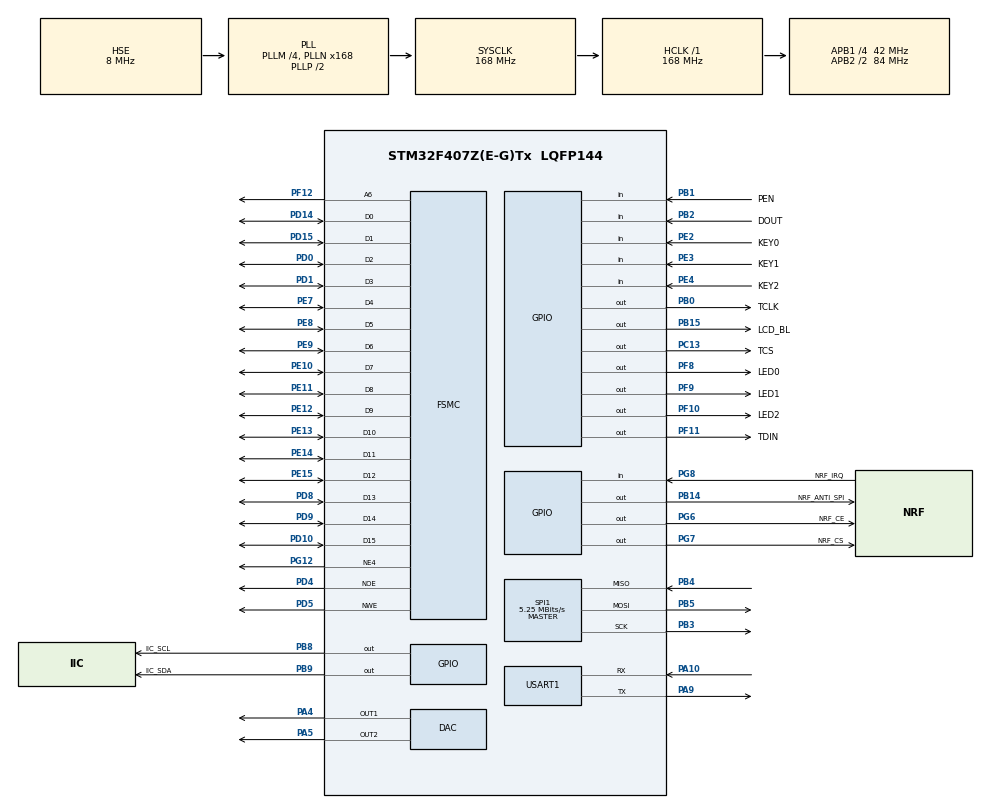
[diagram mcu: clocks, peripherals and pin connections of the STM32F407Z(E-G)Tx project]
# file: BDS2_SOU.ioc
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PH0-OSC_IN.Signal=RCC_OSC_IN
SH.FSMC_D1_DA1.0=FSMC_D1,16b-d1
SPI1.VirtualType=VM_MASTER
PG8.Signal=GPIO_Input
PB14.GPIO_Label=NRF_ANTI_SPI
PG6.GPIO_Label=NRF_CE
SH.FSMC_NWE.0=FSMC_NWE,Lcd1
PE8.GPIO_PuPd=GPIO_PULLUP
PE10.GPIO_PuPd=GPIO_PULLUP
PD10.GPIO_PuPd=GPIO_PULLUP
FSMC.ExtendedBusTurnAroundDuration1=0
SPI1.TIMode=SPI_TIMODE_DISABLE
PF10.GPIO_PuPd=GPIO_PULLUP
PF8.PinState=GPIO_PIN_SET
RCC.SYSCLKSource=RCC_SYSCLKSOURCE_PLLCLK
PD0.GPIO_Speed_High_Default=GPIO_SPEED_FREQ_VERY_HIGH
SPI1.Direction=SPI_DIRECTION_2LINES
RCC.APB2TimFreq_Value=168000000
PD4.Signal=FSMC_NOE
SPI1.CalculateBaudRate=5.25 MBits/s
PD0.Signal=FSMC_D2_DA2
PD8.Signal=FSMC_D13_DA13
PF10.GPIO_Label=LED2
PB2.Signal=GPIO_Input
PB3.Mode=Full_Duplex_Master
PC13-ANTI_TAMP.Signal=GPIO_Output
PG6.GPIO_PuPd=GPIO_PULLUP
DAC.DAC_Trigger=DAC_TRIGGER_NONE
SH.FSMC_D10_DA10.0=FSMC_D10,16b-d1
PE9.Signal=FSMC_D6_DA6
PB1.GPIO_Label=PEN
NVIC.TIM2_IRQn=true\:1\:0\:true\:false\:true\:true\:true
PE4.GPIO_Label=KEY2
PE2.Signal=GPIO_Input
PD14.GPIO_PuPd=GPIO_PULLUP
FSMC.BusTurnAroundDuration1=0
PE10.Signal=FSMC_D7_DA7
SH.FSMC_D5_DA5.0=FSMC_D5,16b-d1
PB2.GPIO_PuPd=GPIO_PULLUP
Mcu.Package=LQFP144
PB9.Signal=GPIO_Output
TIM2.Prescaler=21-1
PB1.Signal=GPIO_Input
PB14.GPIO_PuPd=GPIO_PULLUP
PA10.Signal=USART1_RX
PB9.GPIO_PuPd=GPIO_PULLUP
RCC.APB2CLKDivider=RCC_HCLK_DIV2
SH.FSMC_D3_DA3.0=FSMC_D3,16b-d1
PG12.GPIO_PuPd=GPIO_PULLUP
RCC.APB1TimFreq_Value=84000000
PF9.GPIO_PuPd=GPIO_PULLUP
NVIC.USART1_IRQn=true\:0\:0\:false\:false\:true\:true\:true
PD9.GPIO_PuPd=GPIO_PULLUP
PD15.Signal=FSMC_D1_DA1
PG6.GPIO_Speed=GPIO_SPEED_FREQ_VERY_HIGH
PE12.GPIO_PuPd=GPIO_PULLUP
PG12.Signal=FSMC_NE4
FSMC.ExtendedAddressSetupTime1=9
PC13-ANTI_TAMP.GPIO_PuPd=GPIO_NOPULL
PC13-ANTI_TAMP.GPIO_Label=TCS
PB8.GPIO_PuPd=GPIO_PULLUP
PD1.Signal=FSMC_D3_DA3
SH.FSMC_D9_DA9.0=FSMC_D9,16b-d1
PD1.GPIO_PuPd=GPIO_PULLUP
RCC.APB1CLKDivider=RCC_HCLK_DIV4
SH.FSMC_D8_DA8.0=FSMC_D8,16b-d1
PG8.GPIO_PuPd=GPIO_PULLUP
PF8.GPIO_Label=LED0
PD10.Signal=FSMC_D15_DA15
PF11.GPIO_Speed=GPIO_SPEED_FREQ_VERY_HIGH
PB8.GPIO_Label=IIC_SCL
PB14.GPIO_Speed=GPIO_SPEED_FREQ_VERY_HIGH
FSMC.DataSetupTime1=60
PA9.Signal=USART1_TX
PB14.Signal=GPIO_Output
PA5.Signal=COMP_DAC2_group
PE2.GPIO_PuPd=GPIO_PULLUP
SH.FSMC_D7_DA7.0=FSMC_D7,16b-d1
NVIC.TIM3_IRQn=true\:3\:0\:true\:false\:true\:true\:true
PE14.Signal=FSMC_D11_DA11
PE15.Signal=FSMC_D12_DA12
PB15.GPIO_Label=LCD_BL
PE8.Signal=FSMC_D5_DA5
SPI1.Mode=SPI_MODE_MASTER
PG7.GPIO_Label=NRF_CS
PE3.GPIO_PuPd=GPIO_PULLUP
TIM2.Period=8-1
PA13.Mode=Serial_Wire
PE4.GPIO_PuPd=GPIO_PULLUP
PA4.Signal=COMP_DAC1_group
PB5.Signal=SPI1_MOSI
USART1.VirtualMode=VM_ASYNC
SH.FSMC_D15_DA15.0=FSMC_D15,16b-d1
ProjectManager.HeapSize=0x200
PD0.GPIO_PuPd=GPIO_PULLUP
PF9.Signal=GPIO_Output
NVIC.PriorityGroup=NVIC_PRIORITYGROUP_2
PE3.Signal=GPIO_Input
TIM2.AutoReloadPreload=TIM_AUTORELOAD_PRELOAD_ENABLE
PF10.PinState=GPIO_PIN_SET
PB0.Signal=GPIO_Output
Mcu.Family=STM32F4
PE7.GPIO_PuPd=GPIO_PULLUP
RCC.CortexFreq_Value=168000000
PG6.Signal=GPIO_Output
SH.FSMC_A6.0=FSMC_A6,A6_1
SH.FSMC_D0_DA0.0=FSMC_D0,16b-d1
PF9.GPIO_Speed=GPIO_SPEED_FREQ_VERY_HIGH
PB0.GPIO_Label=TCLK
PD8.GPIO_PuPd=GPIO_PULLUP
PB15.Signal=GPIO_Output
ProjectManager.StackSize=0x400
SH.COMP_DAC2_group.0=DAC_OUT2,DAC_OUT2
PE11.GPIO_PuPd=GPIO_PULLUP
PB1.GPIO_PuPd=GPIO_PULLUP
RCC.HCLKFreq_Value=168000000
TIM3.Period=1000-1
PF11.GPIO_Label=TDIN
PF12.Signal=FSMC_A6
RCC.AHBFreq_Value=168000000
PH0-OSC_IN.Mode=HSE-External-Oscillator
RCC.HSE_VALUE=8000000
PE13.GPIO_PuPd=GPIO_PULLUP
PB4.Mode=Full_Duplex_Master
PE13.Signal=FSMC_D10_DA10
SH.FSMC_D14_DA14.0=FSMC_D14,16b-d1
PF8.GPIO_PuPd=GPIO_PULLUP
PA14.Mode=Serial_Wire
TIM3.Prescaler=8400-1
PF11.Signal=GPIO_Output
PB5.Mode=Full_Duplex_Master
SH.FSMC_D6_DA6.0=FSMC_D6,16b-d1
PG7.GPIO_PuPd=GPIO_PULLUP
DAC.DAC_OutputBuffer=DAC_OUTPUTBUFFER_ENABLE
PE4.Signal=GPIO_Input
SH.FSMC_D4_DA4.0=FSMC_D4,16b-d1
PH1-OSC_OUT.Mode=HSE-External-Oscillator
PB15.GPIO_PuPd=GPIO_PULLUP
PD15.GPIO_PuPd=GPIO_PULLUP
SH.FSMC_D13_DA13.0=FSMC_D13,16b-d1
PF8.Signal=GPIO_Output
PB9.GPIO_Speed=GPIO_SPEED_FREQ_VERY_HIGH
SH.FSMC_D2_DA2.0=FSMC_D2,16b-d1
PE7.Signal=FSMC_D4_DA4
SPI1.BaudRatePrescaler=SPI_BAUDRATEPRESCALER_16
PE2.GPIO_Label=KEY0
VP_TIM3_VS_ClockSourceINT.Mode=Internal
PB4.Signal=SPI1_MISO
RCC.PLLSourceVirtual=RCC_PLLSOURCE_HSE
SH.COMP_DAC1_group.0=DAC_OUT1,DAC_OUT1
SH.FSMC_D12_DA12.0=FSMC_D12,16b-d1
PG7.Signal=GPIO_Output
PB9.GPIO_Label=IIC_SDA
PA10.Mode=Asynchronous
FSMC.ExtendedMode1=FSMC_EXTENDED_MODE_ENABLE
PF10.GPIO_Speed=GPIO_SPEED_FREQ_VERY_HIGH
PD9.Signal=FSMC_D14_DA14
PD5.Signal=FSMC_NWE
PB0.GPIO_Speed=GPIO_SPEED_FREQ_VERY_HIGH
PG8.GPIO_Label=NRF_IRQ
PA13.Signal=SYS_JTMS-SWDIO
PD4.GPIO_PuPd=GPIO_PULLUP
PA9.Mode=Asynchronous
PB14.PinState=GPIO_PIN_SET
ProjectManager.TargetToolchain=STM32CubeIDE
PF9.PinState=GPIO_PIN_SET
PF9.GPIO_Label=LED1
PE11.Signal=FSMC_D8_DA8
RCC.LSE_VALUE=32768
FSMC.ExtendedDataSetupTime1=8
board=custom
PG12.Mode=NorPsramChipSelect4_1
RCC.VCOOutputFreq_Value=336000000
PG7.GPIO_Speed=GPIO_SPEED_FREQ_VERY_HIGH
RCC.APB2Freq_Value=84000000
VP_TIM2_VS_ClockSourceINT.Mode=Internal
PF10.Signal=GPIO_Output
PB15.GPIO_Speed=GPIO_SPEED_FREQ_MEDIUM
PH1-OSC_OUT.Signal=RCC_OSC_OUT
PD5.GPIO_PuPd=GPIO_PULLUP
PE14.GPIO_PuPd=GPIO_PULLUP
Mcu.Name=STM32F407Z(E-G)Tx
FSMC.AccessMode1=FSMC_ACCESS_MODE_A
PE12.Signal=FSMC_D9_DA9
PD14.Signal=FSMC_D0_DA0
RCC.48MHZClocksFreq_Value=84000000
PB3.Signal=SPI1_SCK
RCC.SYSCLKFreq_VALUE=168000000
PA14.Signal=SYS_JTCK-SWCLK
PB2.GPIO_Label=DOUT
PE15.GPIO_PuPd=GPIO_PULLUP
SH.FSMC_D11_DA11.0=FSMC_D11,16b-d1
SH.FSMC_NOE.0=FSMC_NOE,Lcd1
RCC.HSI_VALUE=16000000
RCC.PLLM=4
RCC.PLLN=168
PF8.GPIO_Speed=GPIO_SPEED_FREQ_VERY_HIGH
PB8.Signal=GPIO_Output
PE3.GPIO_Label=KEY1
RCC.APB1Freq_Value=42000000
PB8.GPIO_Speed=GPIO_SPEED_FREQ_VERY_HIGH
PB0.GPIO_PuPd=GPIO_PULLUP
PE9.GPIO_PuPd=GPIO_PULLUP

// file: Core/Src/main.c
/* USER CODE BEGIN Header */
/**
  ******************************************************************************
  * @file           : main.c
  * @brief          : Main program body
  ******************************************************************************
  * @attention
  *
  * <h2><center>&copy; Copyright (c) 2021 STMicroelectronics.
  * All rights reserved.</center></h2>
  *
  * This software component is licensed by ST under BSD 3-Clause license,
  * the "License"; You may not use this file except in compliance with the
  * License. You may obtain a copy of the License at:
  *                        opensource.org/licenses/BSD-3-Clause
  *
  ******************************************************************************
  */
/* USER CODE END Header */
#include "main.h"
#include "dac.h"
#include "spi.h"
#include "tim.h"
#include "usart.h"
#include "gpio.h"
#include "fsmc.h"

/* USER CODE BEGIN Includes */
#include "lcd.h"
#include "touch.h"
#include "24l01.h"
/* USER CODE END Includes */

void SystemClock_Config(void);
/* USER CODE BEGIN PFP */
u8 TP_CHECK(u16 x0, u16 y0, u16 x1, u16 y1);
void DAC_VAL_Change(void);
void AMP_MUL_Change(void);
/* USER CODE END PFP */

/* USER CODE BEGIN 0 */
extern uint8_t DAC_STA;
extern uint8_t DAC_FRE;
extern uint16_t DAC_VAL;
extern uint32_t TimeOffset;
extern uint16_t Wavetable[];
extern uint16_t Sin[];
extern uint16_t pressTime;
uint8_t presStatus = 0;
uint8_t Check_flag=0;
/* USER CODE END 0 */

int main(void)
{
  /* USER CODE BEGIN 1 */
  // PRE_AMP_MUL = AMP_MUL;
  /* USER CODE END 1 */

  /* MCU Configuration--------------------------------------------------------*/

  /* Reset of all peripherals, Initializes the Flash interface and the Systick. */
  HAL_Init();

  /* Configure the system clock */
  SystemClock_Config();

  /* Initialize all configured peripherals */
  MX_GPIO_Init();
  MX_DAC_Init();
  MX_USART1_UART_Init();
  MX_TIM2_Init();
  MX_FSMC_Init();
  MX_TIM3_Init();
  MX_SPI1_Init();
  /* USER CODE BEGIN 2 */

  DAC_VAL_Change();
  HAL_TIM_Base_Start_IT(&htim2);
  HAL_TIM_Base_Start_IT(&htim3);
  HAL_DAC_Start(&hdac, DAC_CHANNEL_1);
  HAL_DAC_Start(&hdac, DAC_CHANNEL_2);
  HAL_DAC_SetValue(&hdac, DAC_CHANNEL_2, DAC_ALIGN_12B_R, 1750);
  HAL_DAC_SetValue(&hdac, DAC_CHANNEL_1, DAC_ALIGN_12B_R, ((DAC_FRE/40))*4095);
  delay_init(168);
  LCD_Init();
	tp_dev.init();

  POINT_COLOR = RED;
  //     (28,40)                     (68,40)                                      (192,40)    (202,44)
  //       (32,48) - (44,49)                    DAC_FRE    ()                          (196,48)    +     (208,49)
  //                   (48,56)                                 (172,56)                     (203,52)   (212,56)
  LCD_ShowString(68, 40, 104, 16, 16, (uint8_t *)"DAC_FRE:  KHz");
  LCD_Fill(28,60,48,76,GRAY);
  LCD_Fill(32,68,44,69,GREEN);
  LCD_Fill(192,60,212,76,GRAY);
  LCD_Fill(196,68,208,69,RED);
  LCD_Fill(202,64,203,72,RED);
  // LCD_ShowxNum(132,40,12,2,16,0);

  //閺勫墽銇氭潏鎾冲毉楠炲懎瀹虫穱鈩冧紖
  LCD_ShowString(64, 90, 112, 16, 16, (uint8_t *)"DAC_VAL:    mV");
  LCD_Fill(28,110,48,126,GRAY);
  LCD_Fill(32,118,44,119,GREEN);
  LCD_Fill(192,110,212,126,GRAY);
  LCD_Fill(196,118,208,119,RED);
  LCD_Fill(202,114,203,122,RED);
  // LCD_ShowxNum(128,90,1122,4,16,0);

  LCD_Fill(40,140,200,170,GREEN);
  LCD_ShowString(72, 147, 168, 163, 16, (uint8_t *)"Start Detect");

  POINT_COLOR = GRAY;
  LCD_DrawRectangle(48,110,192,126);
  LCD_DrawRectangle(48,60,192,76);
  POINT_COLOR = RED;
	LCD_Fill(48, 110,DAC_VAL*144.0/600.0+48.0, 126,GRAY);
	LCD_Fill(DAC_VAL/600.0*144.0+48.0, 111,190, 125,WHITE);

	LCD_Fill(48, 60,DAC_FRE*144.0/40.0+48.0,76,GRAY);
	LCD_Fill(DAC_FRE/40.0*144.0+48.0,61,190, 75,WHITE);
	LCD_ShowString(70,190,200,16,16,(uint8_t *)"NRF24L01 Error");
  // HAL_UART_Receive_IT(&huart1,RxBuf,sizeof(RxBuf));
  /* USER CODE END 2 */

  /* Infinite loop */
  while (1)
  {

    /* USER CODE BEGIN 3 */

		if(Check_flag==0&&NRF24L01_Check()==0)
		{
			LCD_Fill(65,190,309,200+16,WHITE);
			LCD_ShowString(70,190,200,16,16,(uint8_t *)"NRF24L01 OK");
			Check_flag=1;
			NRF24L01_TX_Mode();
		}

    tp_dev.scan(0);

    if (tp_dev.sta & TP_PRES_DOWN)
    {
      presStatus = 1;
      if (pressTime++ == 0 || (pressTime > 10 && pressTime%20 == 0))
      {
			if(TP_CHECK(48,110,192,126))
			{DAC_VAL=600.0*((tp_dev.x[0]-48.0)/144.0);
			LCD_Fill(48, 110,tp_dev.x[0], 126,GRAY);
			LCD_Fill(tp_dev.x[0], 111,190, 125,WHITE);
			DAC_VAL_Change();
			}

			if(TP_CHECK(48,60,192,76))
			{DAC_FRE=40.0*((tp_dev.x[0]-48.0)/144.0);
			LCD_Fill(48, 60,tp_dev.x[0], 76,GRAY);
			LCD_Fill(tp_dev.x[0], 61,192, 75,WHITE);
			}

        if(TP_CHECK(28,60,48,76)){
        	DAC_FRE = DAC_FRE==1?1:DAC_FRE-1;
        	LCD_Fill(48, 60,DAC_FRE*144.0/40.0+49.0,76,GRAY);
        	LCD_Fill(DAC_FRE/40.0*144.0+47.0,61,190, 75,WHITE);
        }

        if(TP_CHECK(192,60,212,76)) {
        	DAC_FRE = DAC_FRE==40?40:DAC_FRE+1;
        	LCD_Fill(48, 60,DAC_FRE*144.0/40.0+49.0,76,GRAY);
        	LCD_Fill(DAC_FRE/40.0*144.0+47.0,61,190, 75,WHITE);
        }

        if(TP_CHECK(28,110,48,126)) {
          DAC_VAL = DAC_VAL==0?0:DAC_VAL-1;
          DAC_VAL_Change();
			LCD_Fill(48, 110,DAC_VAL*144.0/600.0+49.0, 126,GRAY);
			LCD_Fill(DAC_VAL/600.0*144.0+47.0, 111,190, 125,WHITE);
        }

        if(TP_CHECK(192,110,212,126)) {
        	DAC_VAL = DAC_VAL==600?600:DAC_VAL+1;
        	DAC_VAL_Change();
			LCD_Fill(48, 110,DAC_VAL*144.0/600.0+49.0, 126,GRAY);
			LCD_Fill(DAC_VAL/600.0*144.0+47.0, 111,190, 125,WHITE);
        }
        if(TP_CHECK(40,140,200,170)) {
          if(DAC_STA) {
            LCD_Fill(40,140,200,170,GREEN);
            LCD_ShowString(72, 147, 168, 163, 16, (uint8_t *)"Sweep Start");
          }else {
            POINT_COLOR = GREEN;
            LCD_Fill(40,140,200,170,RED);
            LCD_ShowString(76, 147, 164, 163, 16, (uint8_t *)"Sweep Stop");
            POINT_COLOR = RED;
          }
					DAC_STA = !DAC_STA;
        }
      }
    }
    else {
      presStatus = 0;
      pressTime = 0;
    }

    LCD_ShowxNum(132,40,DAC_FRE,2,16,0);
    LCD_ShowxNum(128,90,DAC_VAL*5,4,16,0);
  }
  /* USER CODE END 3 */
}

void SystemClock_Config(void)
{
  RCC_OscInitTypeDef RCC_OscInitStruct = {0};
  RCC_ClkInitTypeDef RCC_ClkInitStruct = {0};

  /** Configure the main internal regulator output voltage
  */
  __HAL_RCC_PWR_CLK_ENABLE();
  __HAL_PWR_VOLTAGESCALING_CONFIG(PWR_REGULATOR_VOLTAGE_SCALE1);
  /** Initializes the RCC Oscillators according to the specified parameters
  * in the RCC_OscInitTypeDef structure.
  */
  RCC_OscInitStruct.OscillatorType = RCC_OSCILLATORTYPE_HSE;
  RCC_OscInitStruct.HSEState = RCC_HSE_ON;
  RCC_OscInitStruct.PLL.PLLState = RCC_PLL_ON;
  RCC_OscInitStruct.PLL.PLLSource = RCC_PLLSOURCE_HSE;
  RCC_OscInitStruct.PLL.PLLM = 4;
  RCC_OscInitStruct.PLL.PLLN = 168;
  RCC_OscInitStruct.PLL.PLLP = RCC_PLLP_DIV2;
  RCC_OscInitStruct.PLL.PLLQ = 4;
  if (HAL_RCC_OscConfig(&RCC_OscInitStruct) != HAL_OK)
  {
    Error_Handler();
  }
  /** Initializes the CPU, AHB and APB buses clocks
  */
  RCC_ClkInitStruct.ClockType = RCC_CLOCKTYPE_HCLK|RCC_CLOCKTYPE_SYSCLK
                              |RCC_CLOCKTYPE_PCLK1|RCC_CLOCKTYPE_PCLK2;
  RCC_ClkInitStruct.SYSCLKSource = RCC_SYSCLKSOURCE_PLLCLK;
  RCC_ClkInitStruct.AHBCLKDivider = RCC_SYSCLK_DIV1;
  RCC_ClkInitStruct.APB1CLKDivider = RCC_HCLK_DIV4;
  RCC_ClkInitStruct.APB2CLKDivider = RCC_HCLK_DIV2;

  if (HAL_RCC_ClockConfig(&RCC_ClkInitStruct, FLASH_LATENCY_5) != HAL_OK)
  {
    Error_Handler();
  }
}

/* USER CODE BEGIN 4 */
u8 TP_CHECK(u16 x0, u16 y0, u16 x1, u16 y1)
{
	return (tp_dev.x[0] > x0 && tp_dev.y[0] > y0 && tp_dev.x[0] < x1 && tp_dev.y[0] < y1);
}
void DAC_VAL_Change(void) {
  uint16_t i;
	uint16_t * Wavetable_p = Wavetable;
  for(i=0;i<5000;i++) {
		*(Wavetable_p++) = ((int32_t)Sin[i]-2028)*DAC_VAL/600+2028;
  }
}
// void AMP_MUL_Change(void) {
//   uint16_t i;
//   for(i=0;i<10;i++) {
//     Wavetable[i] = ((int32_t)Sin[i]-2028)*DAC_VAL*AMP_MUL/1000+2028;
//   }
// }
/* USER CODE END 4 */

void Error_Handler(void)
{
  __disable_irq();
  while (1)
  {
  }
}

/************************ (C) COPYRIGHT STMicroelectronics *****END OF FILE****/
